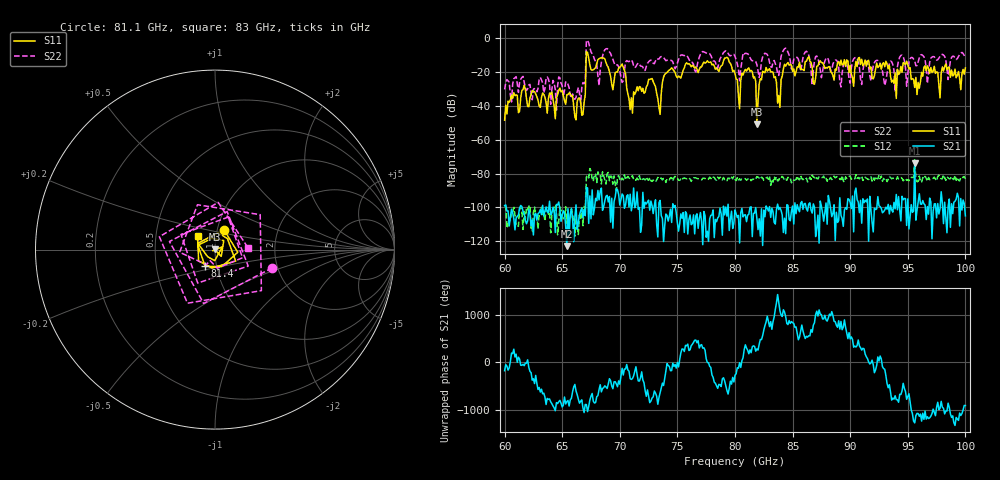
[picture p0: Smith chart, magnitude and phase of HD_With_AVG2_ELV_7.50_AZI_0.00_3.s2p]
! 11/25/2026 10:11:00 AM
! C:\ANRITSUVNA\TEMP\TEMP.S2P
! CHANNEL.1
! TR.MEASUREMENT
! RAW.DATA
# HZ S RI R 50.0
! FREQ.HZ  S11RE  S11IM  S21RE  S21IM  S12RE  S12IM  S22RE  S22IM
!; PortSelection: Port_12
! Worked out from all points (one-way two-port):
!   401 points, 60 GHz to 100 GHz, reference 50 ohm
!   highest |S21| = -73.91 dB at 95.6 GHz (marker M1); lowest = -122.8 dB at 65.4 GHz (marker M2)
!   lowest |S11| = -51.0 dB at 81.9 GHz (marker M3), VSWR 1.01, Z = 49.7 + j0.0985 ohm
!   |S11| at or under -10 dB: start of sweep to 67.09 GHz; 67.24 GHz to end of sweep
!   |S22| runs from -42.8 to -1.7 dB; largest |S21 - S12| = 0.00045
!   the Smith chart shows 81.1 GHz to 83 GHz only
!   S11 on the Smith chart (normalised r, x): 81.1 GHz: 1.08, +0.24; 81.4 GHz: 0.88, -0.17; 83 GHz: 0.81, +0.12
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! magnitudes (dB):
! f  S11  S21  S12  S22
! 60 GHz  -48.6  -98.9  -99.2  -30.5
! 61.6 GHz  -30.6  -102.2  -112.9  -22.8
! 65.4 GHz  -33.7  -122.8  -109.2  -26.1
! 66.7 GHz  -45.7  -100.3  -100.1  -29.5
! 67.3 GHz  -12.1  -109.4  -82.7  -3.2
! 68.4 GHz  -11.8  -88.6  -86.2  -14.7
! 70.3 GHz  -17.5  -93.1  -83.7  -25.5
! 70.9 GHz  -42.4  -92.2  -83.1  -13.5
! 72.7 GHz  -24.4  -96.2  -84.3  -13.3
! 73.4 GHz  -41.2  -97.1  -83.3  -12.6
! 74.4 GHz  -18.6  -101.0  -82.5  -13.4
! 80 GHz  -21.2  -101.4  -83.5  -11.1
! 81.1 GHz  -18.4  -104.5  -83.3  -9.5
! 81.4 GHz  -19.3  -99.6  -84.2  -13.1
! 81.9 GHz  -51.0  -106.6  -81.8  -15.9
! 83 GHz  -18.3  -99.5  -81.5  -14.6
! 83.8 GHz  -34.1  -101.2  -83.8  -22.3
! 84.4 GHz  -16.7  -115.4  -83.3  -6.2
! 86.7 GHz  -17.5  -103.3  -80.9  -28.0
! 93.4 GHz  -16.3  -103.8  -81.7  -15.6
! 95.6 GHz  -29.3  -73.9  -71.9  -13.7
! 100 GHz  -17.9  -104.9  -83.3  -12.1
